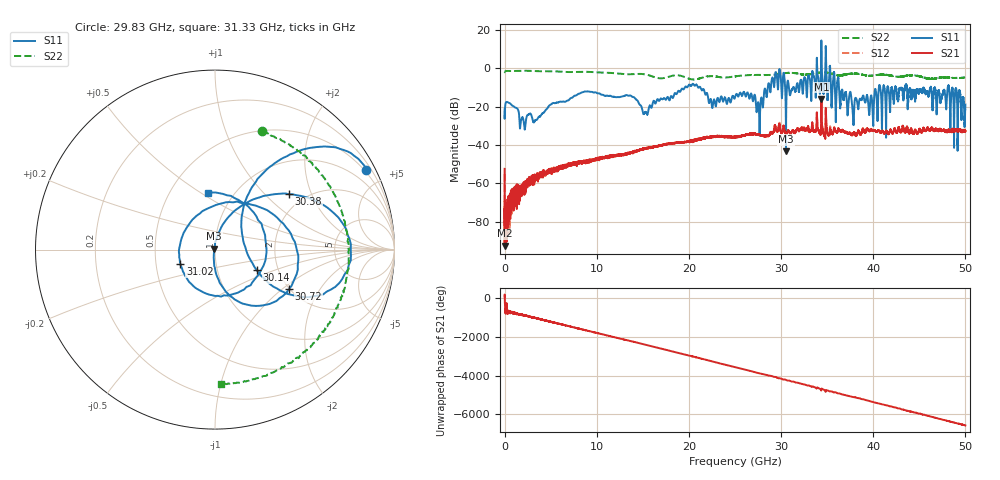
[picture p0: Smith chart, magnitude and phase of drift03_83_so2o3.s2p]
!Created with skrf (http://scikit-rf.org).
# Hz S RI R 50.0
!freq ReS11 ImS11 ReS21 ImS21 ReS12 ImS12 ReS22 ImS22
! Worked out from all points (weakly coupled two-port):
!   10001 points, 300 kHz to 50 GHz, reference 50 ohm
!   highest |S21| = -15.99 dB at 34.37 GHz (marker M1); lowest = -92.4 dB at 5.3 MHz (marker M2)
!   lowest |S11| = -43.3 dB at 30.53 GHz (marker M3), VSWR 1.01, Z = 49.5 + j0.472 ohm
!   |S11| at or under -10 dB: start of sweep to 19.55 GHz; 21.25 GHz to 28.55 GHz (7.299 GHz wide, 29.3 % of centre); 36.28 GHz to 40.61 GHz (4.33 GHz wide, 11.3 % of centre) (the widest 3 of 38)
!   |S22| runs from -5.9 to -1.3 dB; largest |S21 - S12| = 0.028
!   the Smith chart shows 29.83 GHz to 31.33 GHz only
!   S11 on the Smith chart (normalised r, x): 29.83 GHz: 0.42, +3.99; 30.14 GHz: 1.55, -0.38; 30.38 GHz: 1.67, +1.40; 30.72 GHz: 1.98, -1.12; 31.02 GHz: 0.67, -0.11; 31.33 GHz: 0.76, +0.54
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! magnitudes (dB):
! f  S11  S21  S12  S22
! 300 kHz  -21.5  -52.4  -55.2  -2.0
! 5.3 MHz  -26.4  -92.4  -72.2  -2.1
! 255.3 MHz  -17.6  -77.1  -82.4  -1.4
! 3.3 GHz  -27.2  -58.3  -57.4  -1.5
! 8.335 GHz  -12.6  -49.0  -48.9  -1.9
! 15.29 GHz  -22.8  -41.8  -41.8  -3.3
! 16.67 GHz  -16.5  -40.5  -40.8  -5.2
! 20.26 GHz  -9.2  -37.7  -38.2  -5.8
! 25 GHz  -15.3  -36.0  -35.9  -4.3
! 27.53 GHz  -17.8  -34.4  -34.5  -3.5
! 29.83 GHz  -0.4  -29.4  -28.4  -3.0
! 30.14 GHz  -11.7  -33.1  -33.6  -2.8
! 30.38 GHz  -5.8  -32.2  -32.6  -2.6
! 30.53 GHz  -43.3  -34.2  -34.2  -2.5
! 30.72 GHz  -6.6  -32.7  -32.7  -2.5
! 31.02 GHz  -13.6  -34.3  -34.2  -2.4
! 31.33 GHz  -9.9  -32.4  -32.4  -2.5
! 33.34 GHz  -7.6  -31.2  -31.3  -2.9
! 34.37 GHz  14.4  -16.0  -17.0  -2.2
! 37.87 GHz  -29.7  -33.7  -34.1  -2.8
! 41.67 GHz  -11.4  -34.3  -34.1  -3.7
! 50 GHz  -19.0  -32.8  -33.1  -5.0
